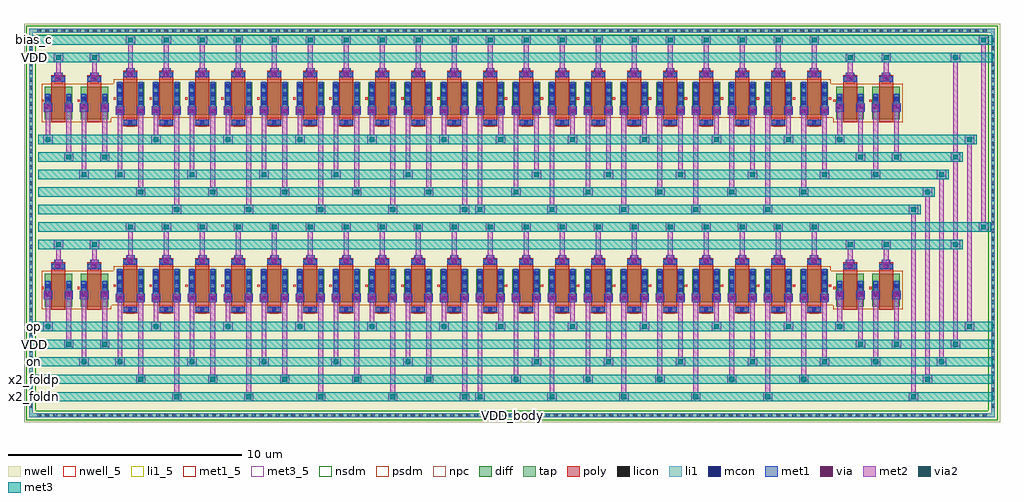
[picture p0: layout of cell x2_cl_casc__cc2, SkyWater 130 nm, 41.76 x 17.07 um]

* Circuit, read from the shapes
.subckt x2_cl_casc__cc2 VDD VDD_body bias_c on op x2_foldn x2_foldp
XM1 VDD VDD op VDD_body sky130_fd_pr__pfet_01v8 w=1.4 l=0.6 m=4
XM2 VDD VDD on VDD_body sky130_fd_pr__pfet_01v8 w=1.4 l=0.6 m=4
XM3 x2_foldp bias_c on VDD_body sky130_fd_pr__pfet_01v8 w=1.4 l=0.6 m=20
XM4 x2_foldn bias_c op VDD_body sky130_fd_pr__pfet_01v8 w=1.4 l=0.6 m=20
.ends

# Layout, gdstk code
from math import pi, radians
import gdstk
lib = gdstk.Library(unit=1e-6, precision=1e-09)
def R(c, l, rs):  # rectangles x0, y0, x1, y1
    for r in rs: c.add(gdstk.rectangle(r[:2], r[2:], *l))
def A(c, l, x, y, w, h, nx, ny, dx, dy):  # array of equal rectangles
    R(c, l, [(x+i*dx, y+j*dy, x+i*dx+w, y+j*dy+h) for i in range(nx) for j in range(ny)])
nwell_5 = (64, 5)
nwell = (64, 20)
diff = (65, 20)
tap = (65, 44)
poly = (66, 20)
licon = (66, 44)
li1_5 = (67, 5)
li1 = (67, 20)
mcon = (67, 44)
met1_5 = (68, 5)
met1 = (68, 20)
via = (68, 44)
met2 = (69, 20)
via2 = (69, 44)
met3_5 = (70, 5)
met3 = (70, 20)
nsdm = (93, 44)
psdm = (94, 20)
npc = (95, 20)

sky130_fd_pr__pfet_01v8_ = lib.new_cell('sky130_fd_pr__pfet_01v8_FGX5XW')
R(sky130_fd_pr__pfet_01v8_, nwell, [(-0.77,-1.19,0.77,1.02)])
R(sky130_fd_pr__pfet_01v8_, diff, [(-0.59,-0.88,0.59,0.52)])
R(sky130_fd_pr__pfet_01v8_, poly, [(-0.3,-1.01,0.3,1.005)])
R(sky130_fd_pr__pfet_01v8_, licon, [(-0.53,-0.435,-0.36,-0.265), (0.36,-0.435,0.53,-0.265), (-0.53,-0.095,-0.36,0.075), (0.36,-0.095,0.53,0.075), (-0.085,0.755,0.085,0.925)])
R(sky130_fd_pr__pfet_01v8_, li1, [(-0.53,-0.58,-0.36,0.22), (0.36,-0.58,0.53,0.22), (-0.3,0.755,0.3,0.925)])
R(sky130_fd_pr__pfet_01v8_, mcon, [(-0.53,-0.445,-0.36,-0.275), (0.36,-0.445,0.53,-0.275), (-0.53,-0.085,-0.36,0.085), (0.36,-0.085,0.53,0.085), (-0.085,0.755,0.085,0.925)])
R(sky130_fd_pr__pfet_01v8_, met1, [(-0.56,-0.56,-0.33,0.2), (0.33,-0.56,0.56,0.2), (-0.28,0.725,0.28,0.955)])
R(sky130_fd_pr__pfet_01v8_, psdm, [(-0.715,-1.005,0.715,0.645)])
R(sky130_fd_pr__pfet_01v8_, npc, [(-0.185,0.655,0.185,1.025)])
sky130_fd_pr__pfet_01v8_.add(gdstk.Label('D', (-0.445,-0.18), layer=67, texttype=5))
sky130_fd_pr__pfet_01v8_.add(gdstk.Label('S', (0.445,-0.18), layer=67, texttype=5))
sky130_fd_pr__pfet_01v8_.add(gdstk.Label('G', (0,0.84), layer=67, texttype=5))

pfet_01v8_w1p4_l0p6_m4__ = lib.new_cell('pfet_01v8_W1p4_L0p6_m4__nf1_gtop_sdhalf_ng')
R(pfet_01v8_w1p4_l0p6_m4__, nwell_5, [(0.05,1.055,0.15,1.155)])
R(pfet_01v8_w1p4_l0p6_m4__, nwell, [(0.05,1.055,0.15,1.155)])
R(pfet_01v8_w1p4_l0p6_m4__, met1_5, [(0.21,1.01,0.44,1.21), (1.1,1.01,1.33,1.21), (0.49,1.915,1.05,2.145)])
R(pfet_01v8_w1p4_l0p6_m4__, met1, [(0.21,1.01,0.44,1.21), (1.1,1.01,1.33,1.21), (0.49,1.915,1.05,2.145)])
pfet_01v8_w1p4_l0p6_m4__.add(gdstk.Reference(sky130_fd_pr__pfet_01v8_, (0.77,1.19)))
pfet_01v8_w1p4_l0p6_m4__.add(gdstk.Label('D', (0.325,1.11), layer=68, texttype=5))
pfet_01v8_w1p4_l0p6_m4__.add(gdstk.Label('S', (1.215,1.11), layer=68, texttype=5))
pfet_01v8_w1p4_l0p6_m4__.add(gdstk.Label('G', (0.77,2.03), layer=68, texttype=5))
pfet_01v8_w1p4_l0p6_m4__.add(gdstk.Label('B', (0.1,1.105), layer=64, texttype=5))

c_sky130_fd_pr__pfet_01v8_ = lib.new_cell('sky130_fd_pr__pfet_01v8_RGDEC8')
R(c_sky130_fd_pr__pfet_01v8_, nwell, [(-0.77,-1.2,0.77,1.2)])
R(c_sky130_fd_pr__pfet_01v8_, diff, [(-0.59,-0.7,0.59,0.7)])
R(c_sky130_fd_pr__pfet_01v8_, poly, [(-0.3,-1.185,0.3,1.185)])
A(c_sky130_fd_pr__pfet_01v8_, licon, -0.53, -0.595, 0.17, 0.17, 1, 4, 0, 0.34)
A(c_sky130_fd_pr__pfet_01v8_, licon, 0.36, -0.595, 0.17, 0.17, 1, 4, 0, 0.34)
R(c_sky130_fd_pr__pfet_01v8_, licon, [(-0.085,-1.105,0.085,-0.935), (-0.085,0.935,0.085,1.105)])
R(c_sky130_fd_pr__pfet_01v8_, li1, [(-0.3,-1.105,0.3,-0.935), (-0.53,-0.72,-0.36,0.72), (0.36,-0.72,0.53,0.72), (-0.3,0.935,0.3,1.105)])
A(c_sky130_fd_pr__pfet_01v8_, mcon, -0.53, -0.625, 0.17, 0.17, 1, 4, 0, 0.36)
A(c_sky130_fd_pr__pfet_01v8_, mcon, 0.36, -0.625, 0.17, 0.17, 1, 4, 0, 0.36)
R(c_sky130_fd_pr__pfet_01v8_, mcon, [(-0.085,-1.105,0.085,-0.935), (-0.085,0.935,0.085,1.105)])
R(c_sky130_fd_pr__pfet_01v8_, met1, [(-0.28,-1.135,0.28,-0.905), (-0.56,-0.7,-0.33,0.7), (0.33,-0.7,0.56,0.7), (-0.28,0.905,0.28,1.135)])
R(c_sky130_fd_pr__pfet_01v8_, psdm, [(-0.715,-0.825,0.715,0.825)])
R(c_sky130_fd_pr__pfet_01v8_, npc, [(-0.185,-1.205,0.185,-0.835), (-0.185,0.835,0.185,1.205)])
c_sky130_fd_pr__pfet_01v8_.add(gdstk.Label('D', (-0.445,0), layer=67, texttype=5))
c_sky130_fd_pr__pfet_01v8_.add(gdstk.Label('S', (0.445,0), layer=67, texttype=5))
c_sky130_fd_pr__pfet_01v8_.add(gdstk.Label('G', (0,1.02), layer=67, texttype=5))

pfet_01v8_w1p4_l0p6_m20_ = lib.new_cell('pfet_01v8_W1p4_L0p6_m20__nf1_gboth_sdfull_ng')
R(pfet_01v8_w1p4_l0p6_m20_, nwell_5, [(0.05,1.15,0.15,1.25)])
R(pfet_01v8_w1p4_l0p6_m20_, nwell, [(0.05,1.15,0.15,1.25)])
R(pfet_01v8_w1p4_l0p6_m20_, met1_5, [(0.21,1.2,0.44,1.4), (1.1,1.2,1.33,1.4), (0.49,2.105,1.05,2.335)])
R(pfet_01v8_w1p4_l0p6_m20_, met1, [(0.21,1.2,0.44,1.4), (1.1,1.2,1.33,1.4), (0.49,2.105,1.05,2.335)])
pfet_01v8_w1p4_l0p6_m20_.add(gdstk.Reference(c_sky130_fd_pr__pfet_01v8_, (0.77,1.2)))
pfet_01v8_w1p4_l0p6_m20_.add(gdstk.Label('D', (0.325,1.3), layer=68, texttype=5))
pfet_01v8_w1p4_l0p6_m20_.add(gdstk.Label('S', (1.215,1.3), layer=68, texttype=5))
pfet_01v8_w1p4_l0p6_m20_.add(gdstk.Label('G', (0.77,2.22), layer=68, texttype=5))
pfet_01v8_w1p4_l0p6_m20_.add(gdstk.Label('B', (0.1,1.2), layer=64, texttype=5))

x2_cl_casc__cc2 = lib.new_cell('x2_cl_casc__cc2')
R(x2_cl_casc__cc2, nwell, [(-0.7,-4.65,41.06,12.42)])
R(x2_cl_casc__cc2, tap, [(-0.485,-4.435,40.845,-4.265), (-0.485,-4.265,-0.315,12.035), (40.675,-4.265,40.845,12.035), (-0.485,12.035,40.845,12.205)])
A(x2_cl_casc__cc2, licon, -0.135, -4.435, 0.17, 0.17, 120, 2, 0.34, 16.47)
A(x2_cl_casc__cc2, licon, -0.485, -4.02, 0.17, 0.17, 1, 47, 0, 0.34)
A(x2_cl_casc__cc2, licon, 40.675, -4.02, 0.17, 0.17, 1, 47, 0, 0.34)
R(x2_cl_casc__cc2, li1_5, [(20.13,-4.4,20.23,-4.3)])
R(x2_cl_casc__cc2, li1, [(-0.485,-4.435,40.845,-4.265), (-0.485,-4.265,-0.315,12.035), (40.675,-4.265,40.845,12.035), (-0.485,12.035,40.845,12.205)])
A(x2_cl_casc__cc2, met1, 3.67, 2.14, 0.36, 0.36, 20, 2, 1.54, 8.01)
R(x2_cl_casc__cc2, met1, [(3.225,0.505,3.585,0.865), (4.115,0.505,4.475,0.865), (4.765,0.505,5.125,0.865), (5.655,0.505,6.015,0.865), (6.305,0.505,6.665,0.865), (7.195,0.505,7.555,0.865), (7.845,0.505,8.205,0.865), (8.735,0.505,9.095,0.865), (9.385,0.505,9.745,0.865), (10.275,0.505,10.635,0.865), (10.925,0.505,11.285,0.865), (11.815,0.505,12.175,0.865), (12.465,0.505,12.825,0.865), (13.355,0.505,13.715,0.865), (14.005,0.505,14.365,0.865), (14.895,0.505,15.255,0.865), (15.545,0.505,15.905,0.865), (16.435,0.505,16.795,0.865), (17.085,0.505,17.445,0.865), (17.975,0.505,18.335,0.865), (18.625,0.505,18.985,0.865), (19.515,0.505,19.875,0.865), (20.165,0.505,20.525,0.865), (21.055,0.505,21.415,0.865), (21.705,0.505,22.065,0.865), (22.595,0.505,22.955,0.865), (23.245,0.505,23.605,0.865), (24.135,0.505,24.495,0.865), (24.785,0.505,25.145,0.865), (25.675,0.505,26.035,0.865), (26.325,0.505,26.685,0.865), (27.215,0.505,27.575,0.865), (27.865,0.505,28.225,0.865), (28.755,0.505,29.115,0.865), (29.405,0.505,29.765,0.865), (30.295,0.505,30.655,0.865), (30.945,0.505,31.305,0.865), (31.835,0.505,32.195,0.865), (32.485,0.505,32.845,0.865), (33.375,0.505,33.735,0.865), (0.145,0.63,0.505,0.99), (1.035,0.63,1.395,0.99), (1.685,0.63,2.045,0.99), (2.575,0.63,2.935,0.99), (34.025,0.63,34.385,0.99), (34.915,0.63,35.275,0.99), (35.565,0.63,35.925,0.99), (36.455,0.63,36.815,0.99), (0.59,1.945,0.95,2.305), (2.13,1.945,2.49,2.305), (34.47,1.945,34.83,2.305), (36.01,1.945,36.37,2.305), (3.225,8.515,3.585,8.875), (4.115,8.515,4.475,8.875), (4.765,8.515,5.125,8.875), (5.655,8.515,6.015,8.875), (6.305,8.515,6.665,8.875), (7.195,8.515,7.555,8.875), (7.845,8.515,8.205,8.875), (8.735,8.515,9.095,8.875), (9.385,8.515,9.745,8.875), (10.275,8.515,10.635,8.875), (10.925,8.515,11.285,8.875), (11.815,8.515,12.175,8.875), (12.465,8.515,12.825,8.875), (13.355,8.515,13.715,8.875), (14.005,8.515,14.365,8.875), (14.895,8.515,15.255,8.875), (15.545,8.515,15.905,8.875), (16.435,8.515,16.795,8.875), (17.085,8.515,17.445,8.875), (17.975,8.515,18.335,8.875), (18.625,8.515,18.985,8.875), (19.515,8.515,19.875,8.875), (20.165,8.515,20.525,8.875), (21.055,8.515,21.415,8.875), (21.705,8.515,22.065,8.875), (22.595,8.515,22.955,8.875), (23.245,8.515,23.605,8.875), (24.135,8.515,24.495,8.875), (24.785,8.515,25.145,8.875), (25.675,8.515,26.035,8.875), (26.325,8.515,26.685,8.875), (27.215,8.515,27.575,8.875), (27.865,8.515,28.225,8.875), (28.755,8.515,29.115,8.875), (29.405,8.515,29.765,8.875), (30.295,8.515,30.655,8.875), (30.945,8.515,31.305,8.875), (31.835,8.515,32.195,8.875), (32.485,8.515,32.845,8.875), (33.375,8.515,33.735,8.875), (0.145,8.64,0.505,9), (1.035,8.64,1.395,9), (1.685,8.64,2.045,9), (2.575,8.64,2.935,9), (34.025,8.64,34.385,9), (34.915,8.64,35.275,9), (35.565,8.64,35.925,9), (36.455,8.64,36.815,9), (0.59,9.955,0.95,10.315), (2.13,9.955,2.49,10.315), (34.47,9.955,34.83,10.315), (36.01,9.955,36.37,10.315)])
A(x2_cl_casc__cc2, via, 3.775, 2.245, 0.15, 0.15, 20, 2, 1.54, 8.01)
R(x2_cl_casc__cc2, via, [(3.33,0.61,3.48,0.76), (4.22,0.61,4.37,0.76), (4.87,0.61,5.02,0.76), (5.76,0.61,5.91,0.76), (6.41,0.61,6.56,0.76), (7.3,0.61,7.45,0.76), (7.95,0.61,8.1,0.76), (8.84,0.61,8.99,0.76), (9.49,0.61,9.64,0.76), (10.38,0.61,10.53,0.76), (11.03,0.61,11.18,0.76), (11.92,0.61,12.07,0.76), (12.57,0.61,12.72,0.76), (13.46,0.61,13.61,0.76), (14.11,0.61,14.26,0.76), (15,0.61,15.15,0.76), (15.65,0.61,15.8,0.76), (16.54,0.61,16.69,0.76), (17.19,0.61,17.34,0.76), (18.08,0.61,18.23,0.76), (18.73,0.61,18.88,0.76), (19.62,0.61,19.77,0.76), (20.27,0.61,20.42,0.76), (21.16,0.61,21.31,0.76), (21.81,0.61,21.96,0.76), (22.7,0.61,22.85,0.76), (23.35,0.61,23.5,0.76), (24.24,0.61,24.39,0.76), (24.89,0.61,25.04,0.76), (25.78,0.61,25.93,0.76), (26.43,0.61,26.58,0.76), (27.32,0.61,27.47,0.76), (27.97,0.61,28.12,0.76), (28.86,0.61,29.01,0.76), (29.51,0.61,29.66,0.76), (30.4,0.61,30.55,0.76), (31.05,0.61,31.2,0.76), (31.94,0.61,32.09,0.76), (32.59,0.61,32.74,0.76), (33.48,0.61,33.63,0.76), (0.25,0.735,0.4,0.885), (1.14,0.735,1.29,0.885), (1.79,0.735,1.94,0.885), (2.68,0.735,2.83,0.885), (34.13,0.735,34.28,0.885), (35.02,0.735,35.17,0.885), (35.67,0.735,35.82,0.885), (36.56,0.735,36.71,0.885), (0.695,2.05,0.845,2.2), (2.235,2.05,2.385,2.2), (34.575,2.05,34.725,2.2), (36.115,2.05,36.265,2.2), (3.33,8.62,3.48,8.77), (4.22,8.62,4.37,8.77), (4.87,8.62,5.02,8.77), (5.76,8.62,5.91,8.77), (6.41,8.62,6.56,8.77), (7.3,8.62,7.45,8.77), (7.95,8.62,8.1,8.77), (8.84,8.62,8.99,8.77), (9.49,8.62,9.64,8.77), (10.38,8.62,10.53,8.77), (11.03,8.62,11.18,8.77), (11.92,8.62,12.07,8.77), (12.57,8.62,12.72,8.77), (13.46,8.62,13.61,8.77), (14.11,8.62,14.26,8.77), (15,8.62,15.15,8.77), (15.65,8.62,15.8,8.77), (16.54,8.62,16.69,8.77), (17.19,8.62,17.34,8.77), (18.08,8.62,18.23,8.77), (18.73,8.62,18.88,8.77), (19.62,8.62,19.77,8.77), (20.27,8.62,20.42,8.77), (21.16,8.62,21.31,8.77), (21.81,8.62,21.96,8.77), (22.7,8.62,22.85,8.77), (23.35,8.62,23.5,8.77), (24.24,8.62,24.39,8.77), (24.89,8.62,25.04,8.77), (25.78,8.62,25.93,8.77), (26.43,8.62,26.58,8.77), (27.32,8.62,27.47,8.77), (27.97,8.62,28.12,8.77), (28.86,8.62,29.01,8.77), (29.51,8.62,29.66,8.77), (30.4,8.62,30.55,8.77), (31.05,8.62,31.2,8.77), (31.94,8.62,32.09,8.77), (32.59,8.62,32.74,8.77), (33.48,8.62,33.63,8.77), (0.25,8.745,0.4,8.895), (1.14,8.745,1.29,8.895), (1.79,8.745,1.94,8.895), (2.68,8.745,2.83,8.895), (34.13,8.745,34.28,8.895), (35.02,8.745,35.17,8.895), (35.67,8.745,35.82,8.895), (36.56,8.745,36.71,8.895), (0.695,10.06,0.845,10.21), (2.235,10.06,2.385,10.21), (34.575,10.06,34.725,10.21), (36.115,10.06,36.265,10.21)])
A(x2_cl_casc__cc2, met2, 5.635, -3.75, 0.4, 0.4, 5, 2, 3.08, 8.01)
A(x2_cl_casc__cc2, met2, 18.605, -3.75, 0.4, 0.4, 5, 2, 3.08, 8.01)
A(x2_cl_casc__cc2, met2, 5.735, -3.35, 0.2, 3.875, 5, 2, 3.08, 8.01)
A(x2_cl_casc__cc2, met2, 18.705, -3.35, 0.2, 3.875, 5, 2, 3.08, 8.01)
A(x2_cl_casc__cc2, met2, 4.095, -3, 0.4, 0.4, 5, 2, 3.08, 8.01)
A(x2_cl_casc__cc2, met2, 20.145, -3, 0.4, 0.4, 5, 2, 3.08, 8.01)
A(x2_cl_casc__cc2, met2, 4.195, -2.6, 0.2, 3.125, 5, 2, 3.08, 8.01)
A(x2_cl_casc__cc2, met2, 20.245, -2.6, 0.2, 3.125, 5, 2, 3.08, 8.01)
A(x2_cl_casc__cc2, met2, 3.205, -2.25, 0.4, 0.4, 5, 2, 3.08, 8.01)
A(x2_cl_casc__cc2, met2, 21.035, -2.25, 0.4, 0.4, 5, 2, 3.08, 8.01)
A(x2_cl_casc__cc2, met2, 3.305, -1.85, 0.2, 2.375, 5, 2, 3.08, 8.01)
A(x2_cl_casc__cc2, met2, 21.135, -1.85, 0.2, 2.375, 5, 2, 3.08, 8.01)
A(x2_cl_casc__cc2, met2, 4.745, -0.75, 0.4, 0.4, 5, 2, 3.08, 8.01)
A(x2_cl_casc__cc2, met2, 19.495, -0.75, 0.4, 0.4, 5, 2, 3.08, 8.01)
A(x2_cl_casc__cc2, met2, 4.845, -0.35, 0.2, 0.875, 5, 2, 3.08, 8.01)
A(x2_cl_casc__cc2, met2, 19.595, -0.35, 0.2, 0.875, 5, 2, 3.08, 8.01)
A(x2_cl_casc__cc2, met2, 3.72, 2.16, 0.26, 0.32, 20, 2, 1.54, 8.01)
A(x2_cl_casc__cc2, met2, 3.75, 2.48, 0.2, 1.03, 20, 2, 1.54, 8.01)
A(x2_cl_casc__cc2, met2, 3.65, 3.51, 0.4, 0.4, 20, 2, 1.54, 8.01)
R(x2_cl_casc__cc2, met2, [(37.16,-3.75,37.56,-3.35), (37.26,-3.35,37.46,4.26), (37.76,-3,38.16,-2.6), (37.86,-2.6,38.06,5.01), (1.665,-2.25,2.065,-1.85), (35.545,-2.25,35.945,-1.85), (38.36,-2.25,38.76,-1.85), (1.765,-1.85,1.965,0.65), (35.645,-1.85,35.845,0.65), (38.46,-1.85,38.66,5.76), (1.015,-1.5,1.415,-1.1), (2.555,-1.5,2.955,-1.1), (34.895,-1.5,35.295,-1.1), (36.435,-1.5,36.835,-1.1), (38.96,-1.5,39.36,-1.1), (1.115,-1.1,1.315,0.65), (2.655,-1.1,2.855,0.65), (34.995,-1.1,35.195,0.65), (36.535,-1.1,36.735,0.65), (39.06,-1.1,39.26,2.76), (0.125,-0.75,0.525,-0.35), (34.005,-0.75,34.405,-0.35), (39.56,-0.75,39.96,-0.35), (0.225,-0.35,0.425,0.65), (34.105,-0.35,34.305,0.65), (39.66,-0.35,39.86,7.26), (3.275,0.525,3.535,0.845), (4.165,0.525,4.425,0.845), (4.815,0.525,5.075,0.845), (5.705,0.525,5.965,0.845), (6.355,0.525,6.615,0.845), (7.245,0.525,7.505,0.845), (7.895,0.525,8.155,0.845), (8.785,0.525,9.045,0.845), (9.435,0.525,9.695,0.845), (10.325,0.525,10.585,0.845), (10.975,0.525,11.235,0.845), (11.865,0.525,12.125,0.845), (12.515,0.525,12.775,0.845), (13.405,0.525,13.665,0.845), (14.055,0.525,14.315,0.845), (14.945,0.525,15.205,0.845), (15.595,0.525,15.855,0.845), (16.485,0.525,16.745,0.845), (17.135,0.525,17.395,0.845), (18.025,0.525,18.285,0.845), (18.675,0.525,18.935,0.845), (19.565,0.525,19.825,0.845), (20.215,0.525,20.475,0.845), (21.105,0.525,21.365,0.845), (21.755,0.525,22.015,0.845), (22.645,0.525,22.905,0.845), (23.295,0.525,23.555,0.845), (24.185,0.525,24.445,0.845), (24.835,0.525,25.095,0.845), (25.725,0.525,25.985,0.845), (26.375,0.525,26.635,0.845), (27.265,0.525,27.525,0.845), (27.915,0.525,28.175,0.845), (28.805,0.525,29.065,0.845), (29.455,0.525,29.715,0.845), (30.345,0.525,30.605,0.845), (30.995,0.525,31.255,0.845), (31.885,0.525,32.145,0.845), (32.535,0.525,32.795,0.845), (33.425,0.525,33.685,0.845), (0.195,0.65,0.455,0.97), (1.085,0.65,1.345,0.97), (1.735,0.65,1.995,0.97), (2.625,0.65,2.885,0.97), (34.075,0.65,34.335,0.97), (34.965,0.65,35.225,0.97), (35.615,0.65,35.875,0.97), (36.505,0.65,36.765,0.97), (0.64,1.965,0.9,2.285), (2.18,1.965,2.44,2.285), (34.52,1.965,34.78,2.285), (36.06,1.965,36.32,2.285), (0.67,2.285,0.87,2.76), (2.21,2.285,2.41,2.76), (34.55,2.285,34.75,2.76), (36.09,2.285,36.29,2.76), (0.57,2.76,0.97,3.16), (2.11,2.76,2.51,3.16), (34.45,2.76,34.85,3.16), (35.99,2.76,36.39,3.16), (38.96,2.76,39.36,3.16), (39.06,3.16,39.26,6.51), (40.16,3.51,40.56,3.91), (40.26,3.91,40.46,11.52), (37.16,4.26,37.56,4.66), (37.76,5.01,38.16,5.41), (1.665,5.76,2.065,6.16), (35.545,5.76,35.945,6.16), (38.36,5.76,38.76,6.16), (1.765,6.16,1.965,8.66), (35.645,6.16,35.845,8.66), (1.015,6.51,1.415,6.91), (2.555,6.51,2.955,6.91), (34.895,6.51,35.295,6.91), (36.435,6.51,36.835,6.91), (38.96,6.51,39.36,6.91), (1.115,6.91,1.315,8.66), (2.655,6.91,2.855,8.66), (34.995,6.91,35.195,8.66), (36.535,6.91,36.735,8.66), (39.06,6.91,39.26,10.77), (0.125,7.26,0.525,7.66), (34.005,7.26,34.405,7.66), (39.56,7.26,39.96,7.66), (0.225,7.66,0.425,8.66), (34.105,7.66,34.305,8.66), (3.275,8.535,3.535,8.855), (4.165,8.535,4.425,8.855), (4.815,8.535,5.075,8.855), (5.705,8.535,5.965,8.855), (6.355,8.535,6.615,8.855), (7.245,8.535,7.505,8.855), (7.895,8.535,8.155,8.855), (8.785,8.535,9.045,8.855), (9.435,8.535,9.695,8.855), (10.325,8.535,10.585,8.855), (10.975,8.535,11.235,8.855), (11.865,8.535,12.125,8.855), (12.515,8.535,12.775,8.855), (13.405,8.535,13.665,8.855), (14.055,8.535,14.315,8.855), (14.945,8.535,15.205,8.855), (15.595,8.535,15.855,8.855), (16.485,8.535,16.745,8.855), (17.135,8.535,17.395,8.855), (18.025,8.535,18.285,8.855), (18.675,8.535,18.935,8.855), (19.565,8.535,19.825,8.855), (20.215,8.535,20.475,8.855), (21.105,8.535,21.365,8.855), (21.755,8.535,22.015,8.855), (22.645,8.535,22.905,8.855), (23.295,8.535,23.555,8.855), (24.185,8.535,24.445,8.855), (24.835,8.535,25.095,8.855), (25.725,8.535,25.985,8.855), (26.375,8.535,26.635,8.855), (27.265,8.535,27.525,8.855), (27.915,8.535,28.175,8.855), (28.805,8.535,29.065,8.855), (29.455,8.535,29.715,8.855), (30.345,8.535,30.605,8.855), (30.995,8.535,31.255,8.855), (31.885,8.535,32.145,8.855), (32.535,8.535,32.795,8.855), (33.425,8.535,33.685,8.855), (0.195,8.66,0.455,8.98), (1.085,8.66,1.345,8.98), (1.735,8.66,1.995,8.98), (2.625,8.66,2.885,8.98), (34.075,8.66,34.335,8.98), (34.965,8.66,35.225,8.98), (35.615,8.66,35.875,8.98), (36.505,8.66,36.765,8.98), (0.64,9.975,0.9,10.295), (2.18,9.975,2.44,10.295), (34.52,9.975,34.78,10.295), (36.06,9.975,36.32,10.295), (0.67,10.295,0.87,10.77), (2.21,10.295,2.41,10.77), (34.55,10.295,34.75,10.77), (36.09,10.295,36.29,10.77), (0.57,10.77,0.97,11.17), (2.11,10.77,2.51,11.17), (34.45,10.77,34.85,11.17), (35.99,10.77,36.39,11.17), (38.96,10.77,39.36,11.17), (40.16,11.52,40.56,11.92)])
A(x2_cl_casc__cc2, via2, 5.735, -3.65, 0.2, 0.2, 5, 2, 3.08, 8.01)
A(x2_cl_casc__cc2, via2, 18.705, -3.65, 0.2, 0.2, 5, 2, 3.08, 8.01)
A(x2_cl_casc__cc2, via2, 4.195, -2.9, 0.2, 0.2, 5, 2, 3.08, 8.01)
A(x2_cl_casc__cc2, via2, 20.245, -2.9, 0.2, 0.2, 5, 2, 3.08, 8.01)
A(x2_cl_casc__cc2, via2, 3.305, -2.15, 0.2, 0.2, 5, 2, 3.08, 8.01)
A(x2_cl_casc__cc2, via2, 21.135, -2.15, 0.2, 0.2, 5, 2, 3.08, 8.01)
A(x2_cl_casc__cc2, via2, 4.845, -0.65, 0.2, 0.2, 5, 2, 3.08, 8.01)
A(x2_cl_casc__cc2, via2, 19.595, -0.65, 0.2, 0.2, 5, 2, 3.08, 8.01)
A(x2_cl_casc__cc2, via2, 3.75, 3.61, 0.2, 0.2, 20, 2, 1.54, 8.01)
R(x2_cl_casc__cc2, via2, [(37.26,-3.65,37.46,-3.45), (37.86,-2.9,38.06,-2.7), (1.765,-2.15,1.965,-1.95), (35.645,-2.15,35.845,-1.95), (38.46,-2.15,38.66,-1.95), (1.115,-1.4,1.315,-1.2), (2.655,-1.4,2.855,-1.2), (34.995,-1.4,35.195,-1.2), (36.535,-1.4,36.735,-1.2), (39.06,-1.4,39.26,-1.2), (0.225,-0.65,0.425,-0.45), (34.105,-0.65,34.305,-0.45), (39.66,-0.65,39.86,-0.45), (0.67,2.86,0.87,3.06), (2.21,2.86,2.41,3.06), (34.55,2.86,34.75,3.06), (36.09,2.86,36.29,3.06), (39.06,2.86,39.26,3.06), (40.26,3.61,40.46,3.81), (37.26,4.36,37.46,4.56), (37.86,5.11,38.06,5.31), (1.765,5.86,1.965,6.06), (35.645,5.86,35.845,6.06), (38.46,5.86,38.66,6.06), (1.115,6.61,1.315,6.81), (2.655,6.61,2.855,6.81), (34.995,6.61,35.195,6.81), (36.535,6.61,36.735,6.81), (39.06,6.61,39.26,6.81), (0.225,7.36,0.425,7.56), (34.105,7.36,34.305,7.56), (39.66,7.36,39.86,7.56), (0.67,10.87,0.87,11.07), (2.21,10.87,2.41,11.07), (34.55,10.87,34.75,11.07), (36.09,10.87,36.29,11.07), (39.06,10.87,39.26,11.07), (40.26,11.62,40.46,11.82)])
A(x2_cl_casc__cc2, met3_5, -0.3, -3.6, 0.1, 0.1, 1, 5, 0, 0.75)
R(x2_cl_casc__cc2, met3_5, [(-0.3,10.92,-0.2,11.02), (-0.3,11.67,-0.2,11.77)])
A(x2_cl_casc__cc2, met3, -0.4, -3.75, 41.16, 0.4, 1, 5, 0, 0.75)
R(x2_cl_casc__cc2, met3, [(-0.1,2.76,39.46,3.16), (-0.1,3.51,40.66,3.91), (-0.1,4.26,37.66,4.66), (-0.1,5.01,38.26,5.41), (-0.1,5.76,38.86,6.16), (-0.1,6.51,39.46,6.91), (-0.1,7.26,40.06,7.66), (-0.4,10.77,40.76,11.17), (-0.4,11.52,40.76,11.92)])
R(x2_cl_casc__cc2, nsdm, [(-0.61,-4.56,40.97,-4.14), (-0.61,-4.14,-0.19,11.91), (40.55,-4.14,40.97,11.91), (-0.61,11.91,40.97,12.33)])
A(x2_cl_casc__cc2, psdm, 4.565, 0.375, 0.11, 1.65, 19, 2, 1.54, 8.01)
R(x2_cl_casc__cc2, psdm, [(1.485,0.185,1.595,1.835), (35.365,0.185,35.475,1.835), (3.025,0.375,3.135,1.835), (33.825,0.375,33.935,1.835), (1.485,8.195,1.595,9.845), (35.365,8.195,35.475,9.845), (3.025,8.385,3.135,9.845), (33.825,8.385,33.935,9.845)])
x2_cl_casc__cc2.add(gdstk.Reference(pfet_01v8_w1p4_l0p6_m4__, (35.42,8.01)))
x2_cl_casc__cc2.add(gdstk.Reference(pfet_01v8_w1p4_l0p6_m4__, (33.88,8.01)))
x2_cl_casc__cc2.add(gdstk.Reference(pfet_01v8_w1p4_l0p6_m20_, (33.88,8.01), rotation=pi, x_reflection=True))
x2_cl_casc__cc2.add(gdstk.Reference(pfet_01v8_w1p4_l0p6_m20_, (32.34,8.01), rotation=pi, x_reflection=True))
x2_cl_casc__cc2.add(gdstk.Reference(pfet_01v8_w1p4_l0p6_m20_, (30.8,8.01), rotation=pi, x_reflection=True))
x2_cl_casc__cc2.add(gdstk.Reference(pfet_01v8_w1p4_l0p6_m20_, (29.26,8.01), rotation=pi, x_reflection=True))
x2_cl_casc__cc2.add(gdstk.Reference(pfet_01v8_w1p4_l0p6_m20_, (27.72,8.01), rotation=pi, x_reflection=True))
x2_cl_casc__cc2.add(gdstk.Reference(pfet_01v8_w1p4_l0p6_m20_, (26.18,8.01), rotation=pi, x_reflection=True))
x2_cl_casc__cc2.add(gdstk.Reference(pfet_01v8_w1p4_l0p6_m20_, (24.64,8.01), rotation=pi, x_reflection=True))
x2_cl_casc__cc2.add(gdstk.Reference(pfet_01v8_w1p4_l0p6_m20_, (23.1,8.01), rotation=pi, x_reflection=True))
x2_cl_casc__cc2.add(gdstk.Reference(pfet_01v8_w1p4_l0p6_m20_, (21.56,8.01), rotation=pi, x_reflection=True))
x2_cl_casc__cc2.add(gdstk.Reference(pfet_01v8_w1p4_l0p6_m20_, (20.02,8.01), rotation=pi, x_reflection=True))
x2_cl_casc__cc2.add(gdstk.Reference(pfet_01v8_w1p4_l0p6_m20_, (16.94,8.01)))
x2_cl_casc__cc2.add(gdstk.Reference(pfet_01v8_w1p4_l0p6_m20_, (15.4,8.01)))
x2_cl_casc__cc2.add(gdstk.Reference(pfet_01v8_w1p4_l0p6_m20_, (13.86,8.01)))
x2_cl_casc__cc2.add(gdstk.Reference(pfet_01v8_w1p4_l0p6_m20_, (12.32,8.01)))
x2_cl_casc__cc2.add(gdstk.Reference(pfet_01v8_w1p4_l0p6_m20_, (10.78,8.01)))
x2_cl_casc__cc2.add(gdstk.Reference(pfet_01v8_w1p4_l0p6_m20_, (9.24,8.01)))
x2_cl_casc__cc2.add(gdstk.Reference(pfet_01v8_w1p4_l0p6_m20_, (7.7,8.01)))
x2_cl_casc__cc2.add(gdstk.Reference(pfet_01v8_w1p4_l0p6_m20_, (6.16,8.01)))
x2_cl_casc__cc2.add(gdstk.Reference(pfet_01v8_w1p4_l0p6_m20_, (4.62,8.01)))
x2_cl_casc__cc2.add(gdstk.Reference(pfet_01v8_w1p4_l0p6_m20_, (3.08,8.01)))
x2_cl_casc__cc2.add(gdstk.Reference(pfet_01v8_w1p4_l0p6_m4__, (1.54,8.01)))
x2_cl_casc__cc2.add(gdstk.Reference(pfet_01v8_w1p4_l0p6_m4__, (0,8.01)))
x2_cl_casc__cc2.add(gdstk.Reference(pfet_01v8_w1p4_l0p6_m4__, (35.42,0)))
x2_cl_casc__cc2.add(gdstk.Reference(pfet_01v8_w1p4_l0p6_m4__, (33.88,0)))
x2_cl_casc__cc2.add(gdstk.Reference(pfet_01v8_w1p4_l0p6_m20_, (33.88,0), rotation=pi, x_reflection=True))
x2_cl_casc__cc2.add(gdstk.Reference(pfet_01v8_w1p4_l0p6_m20_, (32.34,0), rotation=pi, x_reflection=True))
x2_cl_casc__cc2.add(gdstk.Reference(pfet_01v8_w1p4_l0p6_m20_, (30.8,0), rotation=pi, x_reflection=True))
x2_cl_casc__cc2.add(gdstk.Reference(pfet_01v8_w1p4_l0p6_m20_, (29.26,0), rotation=pi, x_reflection=True))
x2_cl_casc__cc2.add(gdstk.Reference(pfet_01v8_w1p4_l0p6_m20_, (27.72,0), rotation=pi, x_reflection=True))
x2_cl_casc__cc2.add(gdstk.Reference(pfet_01v8_w1p4_l0p6_m20_, (26.18,0), rotation=pi, x_reflection=True))
x2_cl_casc__cc2.add(gdstk.Reference(pfet_01v8_w1p4_l0p6_m20_, (24.64,0), rotation=pi, x_reflection=True))
x2_cl_casc__cc2.add(gdstk.Reference(pfet_01v8_w1p4_l0p6_m20_, (23.1,0), rotation=pi, x_reflection=True))
x2_cl_casc__cc2.add(gdstk.Reference(pfet_01v8_w1p4_l0p6_m20_, (21.56,0), rotation=pi, x_reflection=True))
x2_cl_casc__cc2.add(gdstk.Reference(pfet_01v8_w1p4_l0p6_m20_, (20.02,0), rotation=pi, x_reflection=True))
x2_cl_casc__cc2.add(gdstk.Reference(pfet_01v8_w1p4_l0p6_m20_, (16.94,0)))
x2_cl_casc__cc2.add(gdstk.Reference(pfet_01v8_w1p4_l0p6_m20_, (15.4,0)))
x2_cl_casc__cc2.add(gdstk.Reference(pfet_01v8_w1p4_l0p6_m20_, (13.86,0)))
x2_cl_casc__cc2.add(gdstk.Reference(pfet_01v8_w1p4_l0p6_m20_, (12.32,0)))
x2_cl_casc__cc2.add(gdstk.Reference(pfet_01v8_w1p4_l0p6_m20_, (10.78,0)))
x2_cl_casc__cc2.add(gdstk.Reference(pfet_01v8_w1p4_l0p6_m20_, (9.24,0)))
x2_cl_casc__cc2.add(gdstk.Reference(pfet_01v8_w1p4_l0p6_m20_, (7.7,0)))
x2_cl_casc__cc2.add(gdstk.Reference(pfet_01v8_w1p4_l0p6_m20_, (6.16,0)))
x2_cl_casc__cc2.add(gdstk.Reference(pfet_01v8_w1p4_l0p6_m20_, (4.62,0)))
x2_cl_casc__cc2.add(gdstk.Reference(pfet_01v8_w1p4_l0p6_m20_, (3.08,0)))
x2_cl_casc__cc2.add(gdstk.Reference(pfet_01v8_w1p4_l0p6_m4__, (1.54,0)))
x2_cl_casc__cc2.add(gdstk.Reference(pfet_01v8_w1p4_l0p6_m4__, (0,0)))
x2_cl_casc__cc2.add(gdstk.Label('VDD', (-0.25,10.97), layer=70, texttype=5))
x2_cl_casc__cc2.add(gdstk.Label('bias_c', (-0.25,11.72), layer=70, texttype=5))
x2_cl_casc__cc2.add(gdstk.Label('op', (-0.25,-0.55), layer=70, texttype=5))
x2_cl_casc__cc2.add(gdstk.Label('VDD', (-0.25,-1.3), layer=70, texttype=5))
x2_cl_casc__cc2.add(gdstk.Label('on', (-0.25,-2.05), layer=70, texttype=5))
x2_cl_casc__cc2.add(gdstk.Label('x2_foldp', (-0.25,-2.8), layer=70, texttype=5))
x2_cl_casc__cc2.add(gdstk.Label('x2_foldn', (-0.25,-3.55), layer=70, texttype=5))
x2_cl_casc__cc2.add(gdstk.Label('VDD_body', (20.18,-4.35), layer=67, texttype=5))

lib.write_gds('x2_cl_casc__cc2.gds')
